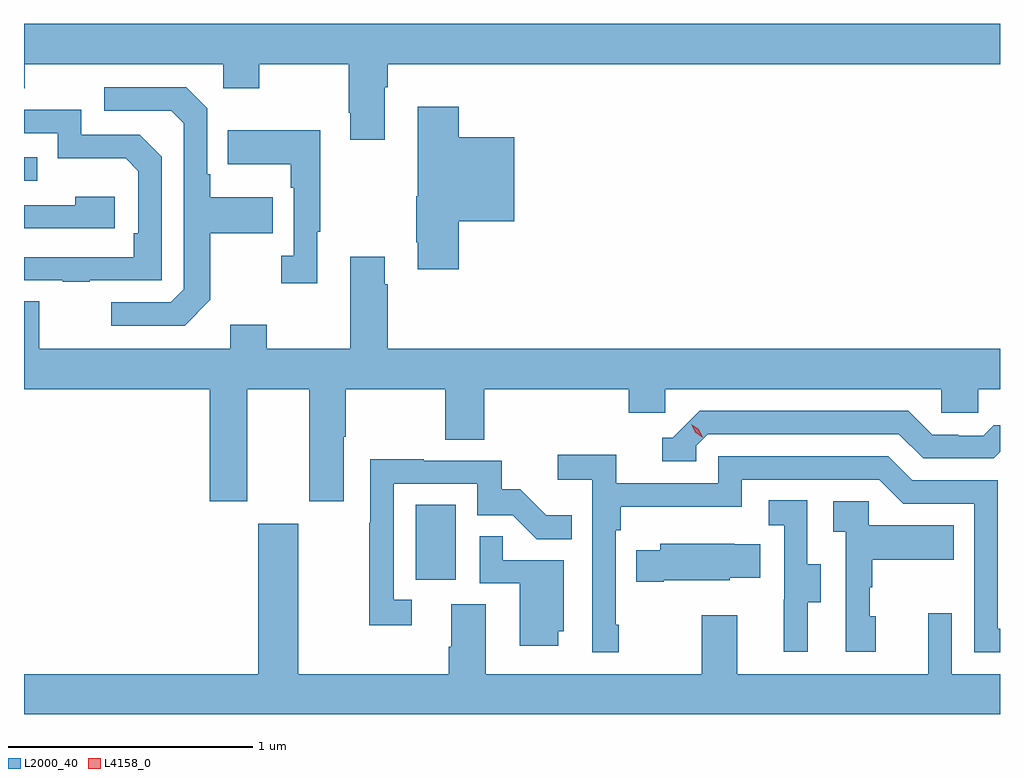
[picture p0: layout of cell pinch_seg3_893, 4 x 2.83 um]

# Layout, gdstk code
import gdstk
lib = gdstk.Library(unit=1e-6, precision=1e-09)
def R(c, l, rs):  # rectangles x0, y0, x1, y1
    for r in rs: c.add(gdstk.rectangle(r[:2], r[2:], *l))
def P(c, l, *ps):  # polygons
    for p in ps: c.add(gdstk.Polygon(p, *l))
L2000_40 = (2000, 40)
L4158_0 = (4158, 0)

pinch_seg3_893 = lib.new_cell('pinch_seg3_893')
R(pinch_seg3_893, L2000_40, [(865.73,700.134,865.894,700.441), (864.125,701.769,864.179,701.865)])
P(pinch_seg3_893, L2000_40, [(865.603,702.152),(865.616,702.152),(865.616,702.248),(868.125,702.248),(868.125,702.412),(864.125,702.412),(864.125,702.149),(864.129,702.149),(864.129,702.248),(864.942,702.248),(864.942,702.149),(865.089,702.149),(865.089,702.248),(865.456,702.248),(865.456,702.049),(865.463,702.049),(865.463,701.937),(865.603,701.937)],
  [(864.889,701.281),(864.889,701.554),(865.145,701.554),(865.145,701.701),(864.889,701.701),(864.889,701.797),(864.876,701.797),(864.876,702.066),(864.789,702.153),(864.453,702.153),(864.453,702.057),(864.729,702.057),(864.78,702.006),(864.78,701.325),(864.726,701.271),(864.483,701.271),(864.483,701.175),(864.783,701.175)],
  [(865.907,701.603),(866.134,701.603),(866.134,701.947),(865.907,701.947),(865.907,702.073),(865.739,702.073),(865.739,701.707),(865.732,701.707),(865.732,701.518),(865.739,701.518),(865.739,701.406),(865.907,701.406)],
  [(864.395,701.361),(864.69,701.361),(864.69,701.868),(864.6,701.958),(864.36,701.958),(864.36,702.06),(864.125,702.06),(864.125,701.964),(864.264,701.964),(864.264,701.861),(864.541,701.861),(864.594,701.808),(864.594,701.554),(864.574,701.554),(864.574,701.457),(864.125,701.457),(864.125,701.361),(864.283,701.361),(864.283,701.356),(864.395,701.356)],
  [(865.327,701.561),(865.339,701.561),(865.339,701.977),(864.961,701.977),(864.961,701.837),(865.218,701.837),(865.218,701.741),(865.23,701.741),(865.23,701.462),(865.179,701.462),(865.179,701.349),(865.327,701.349)],
  [(864.496,701.704),(864.335,701.704),(864.335,701.67),(864.125,701.67),(864.125,701.574),(864.496,701.574)],
  [(865.039,700.916),(865.295,700.916),(865.295,700.455),(865.435,700.455),(865.435,700.72),(865.443,700.72),(865.443,700.916),(865.852,700.916),(865.852,700.708),(866.012,700.708),(866.012,700.916),(866.603,700.916),(866.603,700.818),(866.754,700.818),(866.754,700.916),(867.885,700.916),(867.885,700.818),(868.035,700.818),(868.035,700.916),(868.125,700.916),(868.125,701.08),(865.616,701.08),(865.616,701.345),(865.603,701.345),(865.603,701.458),(865.463,701.458),(865.463,701.08),(865.119,701.08),(865.119,701.179),(864.971,701.179),(864.971,701.08),(864.187,701.08),(864.187,701.275),(864.125,701.275),(864.125,700.916),(864.887,700.916),(864.887,700.455),(865.039,700.455)],
  [(866.88,700.683),(866.928,700.731),(867.711,700.731),(867.81,700.632),(868.099,700.632),(868.125,700.658),(868.125,700.768),(868.099,700.768),(868.057,700.725),(867.954,700.725),(867.954,700.728),(867.847,700.728),(867.748,700.827),(866.895,700.827),(866.784,700.716),(866.741,700.716),(866.741,700.62),(866.88,700.62)],
  [(866.563,699.949),(866.55,699.949),(866.55,700.337),(866.57,700.337),(866.57,700.433),(867.066,700.433),(867.066,700.545),(867.63,700.545),(867.729,700.446),(868.02,700.446),(868.02,699.837),(868.125,699.837),(868.125,699.933),(868.116,699.933),(868.116,700.542),(867.766,700.542),(867.667,700.641),(866.97,700.641),(866.97,700.53),(866.552,700.53),(866.552,700.646),(866.313,700.646),(866.313,700.544),(866.454,700.544),(866.454,699.837),(866.563,699.837)],
  [(865.714,700.053),(865.641,700.053),(865.641,700.527),(865.983,700.527),(865.983,700.398),(866.128,700.398),(866.226,700.3),(866.369,700.3),(866.369,700.399),(866.265,700.399),(866.158,700.506),(866.082,700.506),(866.082,700.623),(865.763,700.623),(865.763,700.628),(865.545,700.628),(865.545,700.367),(865.54,700.367),(865.54,699.948),(865.714,699.948)],
  [(867.337,700.042),(867.391,700.042),(867.391,700.197),(867.336,700.197),(867.336,700.46),(867.177,700.46),(867.177,700.357),(867.24,700.357),(867.24,700.053),(867.239,700.053),(867.239,699.84),(867.337,699.84)],
  [(867.616,699.984),(867.591,699.984),(867.591,700.103),(867.601,700.103),(867.601,700.217),(867.935,700.217),(867.935,700.357),(867.588,700.357),(867.588,700.455),(867.441,700.455),(867.441,700.331),(867.492,700.331),(867.492,699.84),(867.616,699.84)],
  [(868.125,699.748),(867.927,699.748),(867.927,699.997),(867.83,699.997),(867.83,699.748),(867.049,699.748),(867.049,699.988),(866.902,699.988),(866.902,699.748),(866.017,699.748),(866.017,700.034),(865.877,700.034),(865.877,699.86),(865.865,699.86),(865.865,699.748),(865.249,699.748),(865.249,700.363),(865.085,700.363),(865.085,699.748),(864.125,699.748),(864.125,699.584),(868.125,699.584)],
  [(866.314,699.924),(866.338,699.924),(866.338,700.215),(866.087,700.215),(866.087,700.313),(865.992,700.313),(865.992,700.119),(866.156,700.119),(866.156,699.864),(866.314,699.864)],
  [(866.746,700.133),(867.018,700.133),(867.018,700.142),(867.143,700.142),(867.143,700.279),(867.035,700.279),(867.035,700.282),(866.733,700.282),(866.733,700.255),(866.635,700.255),(866.635,700.126),(866.746,700.126)])
P(pinch_seg3_893, L4158_0, [(866.905,700.718),(866.875,700.738),(866.859,700.771),(866.859,700.771),(866.859,700.771),(866.89,700.751),(866.906,700.719),(866.906,700.718)])

lib.write_gds('pinch_seg3_893.gds')
